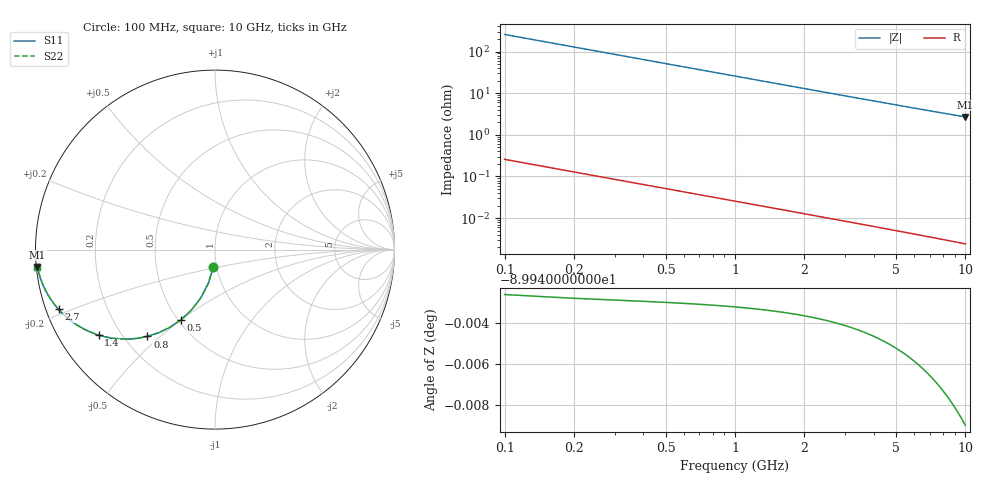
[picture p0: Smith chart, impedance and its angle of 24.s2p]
# Hz S RI R 50.00
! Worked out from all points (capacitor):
!   100 points, 100 MHz to 10 GHz, reference 50 ohm
!   read as one part in shunt: C = 6.18 pF near 100 MHz
!   lowest |Z| = 2.7 ohm at 10 GHz (marker M1)
!   S11 on the Smith chart (normalised r, x): 100 MHz: 0.96, -0.19; 500 MHz: 0.51, -0.50; 800 MHz: 0.29, -0.45; 1.4 GHz: 0.12, -0.32; 2.7 GHz: 0.04, -0.18; 10 GHz: 0.00, -0.05
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1e8  -0.00943 -0.0962  0.9905 -0.0963  0.9905 -0.0963  -0.00943 -0.0962
2e8  -0.0365 -0.187  0.9634 -0.1872  0.9634 -0.1872  -0.0365 -0.187
3e8  -0.0785 -0.2683  0.9215 -0.2686  0.9215 -0.2686  -0.0785 -0.2683
4e8  -0.1314 -0.3371  0.8686 -0.3375  0.8686 -0.3375  -0.1314 -0.3371
5e8  -0.191 -0.3923  0.809 -0.3928  0.809 -0.3928  -0.191 -0.3923
6e8  -0.2536 -0.4343  0.7464 -0.4349  0.7464 -0.4349  -0.2536 -0.4343
7e8  -0.316 -0.4641  0.6839 -0.4648  0.6839 -0.4648  -0.316 -0.4641
8e8  -0.3762 -0.4835  0.6238 -0.4843  0.6238 -0.4843  -0.3762 -0.4835
9e8  -0.4328 -0.4945  0.5672 -0.4954  0.5672 -0.4954  -0.4328 -0.4945
1.1e9  -0.5324 -0.4979  0.4676 -0.499  0.4676 -0.499  -0.5324 -0.4979
1.2e9  -0.5752 -0.4932  0.4248 -0.4944  0.4248 -0.4944  -0.5752 -0.4932
1.4e9  -0.648 -0.4764  0.352 -0.4778  0.352 -0.4778  -0.648 -0.4764
1.6e9  -0.7061 -0.4543  0.2939 -0.4559  0.2939 -0.4559  -0.7061 -0.4543
1.8e9  -0.7523 -0.4303  0.2477 -0.4321  0.2477 -0.4321  -0.7523 -0.4303
2.2e9  -0.8191 -0.3833  0.1808 -0.3855  0.1808 -0.3855  -0.8191 -0.3833
2.7e9  -0.8719 -0.3323  0.1281 -0.335  0.1281 -0.335  -0.8719 -0.3323
3.4e9  -0.915 -0.2766  0.0849 -0.28  0.0849 -0.28  -0.915 -0.2766
4.2e9  -0.9425 -0.23  0.0574 -0.2343  0.0574 -0.2343  -0.9425 -0.23
5.1e9  -0.9603 -0.1922  0.0397 -0.1974  0.0397 -0.1974  -0.9603 -0.1922
6.7e9  -0.9766 -0.1472  0.0234 -0.1541  0.0234 -0.1541  -0.9766 -0.1472
8.4e9  -0.985 -0.1165  0.0149 -0.1252  0.0149 -0.1252  -0.985 -0.1165
1e10  -0.9894 -0.0963  0.0105 -0.1068  0.0105 -0.1068  -0.9894 -0.0963
